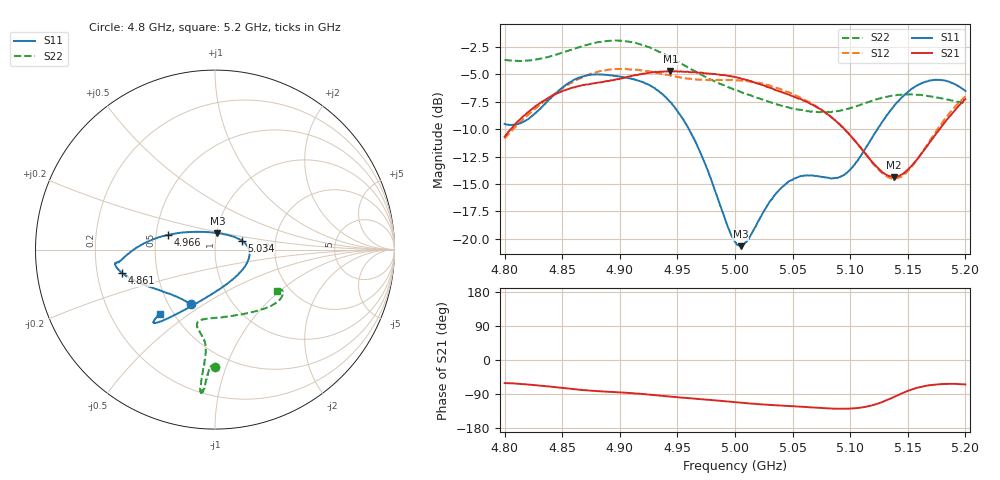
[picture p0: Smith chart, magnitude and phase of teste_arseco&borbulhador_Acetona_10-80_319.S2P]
! Network Analyzer HP8722D
! Hewlett-Packard
! Data name: Linha & Wilkinson
! Saver's name: Rodrigo Anjos
! Comments: Teste da utilização de aquisição
! continua pelo VNA HP8722D
! Time and date: 17/4/2025 17:01
!  Frequency  S11  S21  S12  S22
# HZ  S  MA R 50
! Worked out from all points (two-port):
!   401 points, 4.8 GHz to 5.2 GHz, reference 50 ohm
!   highest |S21| = -4.68 dB at 4.944 GHz (marker M1); lowest = -14.4 dB at 5.138 GHz (marker M2)
!   |S21| within 3 dB of the highest: 4.83 GHz to 5.065 GHz (235.5 MHz wide, 4.76 % of centre); 5.195958 GHz to end of sweep
!   lowest |S11| = -20.7 dB at 5.005 GHz (marker M3), VSWR 1.20, Z = 50.5 + j9.32 ohm
!   |S11| at or under -10 dB: 4.96 GHz to 5.124 GHz (163.7 MHz wide, 3.25 % of centre)
!   |S22| runs from -8.5 to -1.9 dB; largest |S21 - S12| = 0.87
!   S11 on the Smith chart (normalised r, x): 4.8 GHz: 0.64, -0.44; 4.861 GHz: 0.31, -0.11; 4.966 GHz: 0.58, +0.10; 5.034 GHz: 1.34, +0.14; 5.2 GHz: 0.42, -0.39
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4.8e9  0.3344 -113.9  0.2922 -61.0  0.2867 -175.2  0.6561 -90.2
4.819e9  0.3483 -133.8  0.3731 -64.3  0.3618 -173.8  0.6509 -91.7
4.861e9  0.5341 -165.7  0.4905 -77.2  0.5258 -177.1  0.7365 -94.0
4.867e9  0.549 -168.1  0.5014 -79.0  0.5439 -178.2  0.7548 -94.2
4.9e9  0.5497 -172.6  0.5374 -85.5  0.5956 175.2  0.8022 -95.5
4.934e9  0.4714 -178.4  0.5774 -93.9  0.5711 171.6  0.7129 -95.9
4.944e9  0.4204 177.2  0.5836 -96.6  0.5551 171.6  0.673 -95.7
4.966e9  0.275 162.7  0.5743 -102.2  0.5336 173.6  0.5788 -95.1
5e9  0.09699 99.8  0.5469 -111.4  0.5299 176.0  0.4787 -99.2
5.005e9  0.09251 81.7  0.5392 -112.6  0.5272 176.0  0.4675 -100.3
5.012e9  0.1001 58.5  0.5275 -114.6  0.5226 175.8  0.4541 -101.8
5.034e9  0.1571 18.7  0.48 -119.4  0.4928 174.6  0.4146 -103.4
5.049e9  0.1848 3.4  0.4491 -121.7  0.4604 174.0  0.3934 -99.7
5.067e9  0.1943 -15.7  0.4102 -125.1  0.4135 173.6  0.3811 -90.1
5.085e9  0.1888 -44.2  0.3546 -128.4  0.3538 173.6  0.3809 -76.7
5.097e9  0.1997 -68.4  0.3082 -128.6  0.3091 174.7  0.3908 -66.9
5.134e9  0.3792 -117.2  0.1936 -103.1  0.1899 -156.0  0.4476 -43.0
5.138e9  0.4034 -119.5  0.1911 -97.4  0.1884 -149.6  0.4504 -41.2
5.15e9  0.4675 -124.8  0.2064 -81.7  0.2035 -131.4  0.4561 -36.8
5.17e9  0.5282 -129.3  0.2798 -66.2  0.285 -112.3  0.4463 -32.1
5.184e9  0.5241 -130.6  0.3503 -63.0  0.3619 -107.4  0.4321 -31.2
5.2e9  0.4723 -130.8  0.434 -64.7  0.4466 -106.8  0.4148 -33.6
